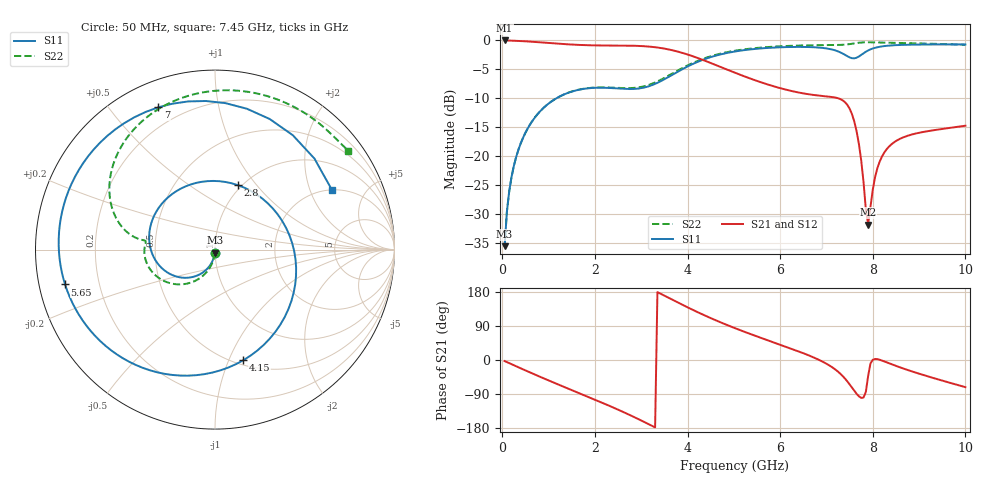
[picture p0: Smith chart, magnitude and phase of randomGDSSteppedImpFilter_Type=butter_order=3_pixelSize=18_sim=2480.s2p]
! freq	dB(S11)	phase(S11)	dB(S12)	phase(S12)
!  dB(S21)	phase(S21)	dB(S22)	phase(S22)
!S-par simulation data
#  GHz  S  DB  R 50
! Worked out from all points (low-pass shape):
!   200 points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, 50 MHz to 10 GHz, reference 50 ohm
!   highest |S21| = 0.00 dB at 50 MHz (marker M1); lowest = -31.7 dB at 7.9 GHz (marker M2)
!   |S21| within 3 dB of the highest: start of sweep to 4.211 GHz
!   lowest |S11| = -35.5 dB at 50 MHz (marker M3), VSWR 1.03, Z = 49.9 - j1.68 ohm
!   |S11| at or under -10 dB: start of sweep to 1.164 GHz
!   |S22| runs from -35.5 to -0.3 dB; largest |S21 - S12| = 0
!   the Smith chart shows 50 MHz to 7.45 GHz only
!   S11 on the Smith chart (normalised r, x): 50 MHz: 1.00, -0.03; 2.8 GHz: 0.96, +0.81; 4.15 GHz: 0.55, -1.13; 5.65 GHz: 0.08, -0.11; 7 GHz: 0.12, +0.67; 7.45 GHz: 2.00, +2.86
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0.05  -35.47 -93.2  -0.00 -2.8  -0.00 -2.8  -35.47 -92.6
0.2  -23.51 -102.7  -0.04 -11.1  -0.04 -11.1  -23.51 -100.2
0.5  -15.91 -121.2  -0.15 -27.5  -0.15 -27.5  -15.90 -114.8
1.1  -10.31 -157.8  -0.50 -59.1  -0.50 -59.1  -10.30 -141.6
1.75  -8.36 160.8  -0.80 -92.0  -0.80 -92.0  -8.33 -165.9
2.8  -8.38 70.3  -0.91 -147.9  -0.91 -147.9  -8.20 173.1
3.4  -7.12 -0.8  -1.28 176.0  -1.28 176.0  -6.87 171.2
4.15  -3.93 -75.6  -2.83 130.2  -2.83 130.2  -3.75 154.2
5.05  -1.87 -136.0  -5.65 82.8  -5.65 82.8  -1.74 120.8
5.65  -1.33 -166.9  -7.39 55.6  -7.39 55.6  -1.19 98.2
6.2  -1.13 165.9  -8.63 31.6  -8.63 31.6  -0.94 78.2
6.7  -1.16 136.9  -9.38 8.0  -9.38 8.0  -0.83 60.7
7  -1.38 111.8  -9.64 -9.9  -9.64 -9.9  -0.80 50.5
7.25  -1.89 77.2  -9.97 -30.8  -9.97 -30.8  -0.78 42.5
7.45  -2.72 27.1  -11.10 -56.4  -11.10 -56.4  -0.68 36.5
7.55  -3.06 -9.7  -12.69 -72.7  -12.69 -72.7  -0.57 33.4
7.7  -2.77 -70.8  -17.83 -95.8  -17.83 -95.8  -0.40 28.0
7.9  -1.73 -130.8  -31.75 -42.1  -31.75 -42.1  -0.32 20.1
8.1  -1.17 -165.1  -22.01 2.2  -22.01 2.2  -0.35 12.8
8.35  -0.89 169.1  -18.31 -8.5  -18.31 -8.5  -0.40 4.2
9.05  -0.71 128.7  -15.84 -38.0  -15.84 -38.0  -0.52 -18.8
10  -0.69 92.3  -14.70 -71.7  -14.70 -71.7  -0.75 -48.9
